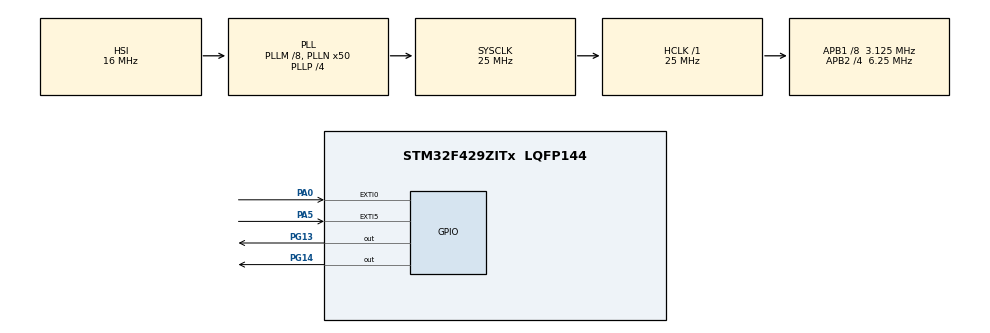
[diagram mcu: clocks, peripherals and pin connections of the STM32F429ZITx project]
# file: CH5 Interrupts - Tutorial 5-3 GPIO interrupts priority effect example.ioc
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Mcu.Family=STM32F4
Mcu.Name=STM32F429ZITx
Mcu.Package=LQFP144
NVIC.EXTI0_IRQn=true\:1\:0\:true\:true\:true\:1\:true\:true\:true
NVIC.EXTI9_5_IRQn=true\:2\:0\:true\:true\:true\:2\:true\:true\:true
NVIC.PriorityGroup=NVIC_PRIORITYGROUP_2
PA0/WKUP.GPIO_ModeDefaultEXTI=GPIO_MODE_IT_FALLING
PA0/WKUP.GPIO_PuPd=GPIO_PULLDOWN
PA0/WKUP.Signal=GPXTI0
PA5.GPIO_ModeDefaultEXTI=GPIO_MODE_IT_FALLING
PA5.GPIO_PuPd=GPIO_PULLDOWN
PA5.Signal=GPXTI5
PG13.Signal=GPIO_Output
PG14.Signal=GPIO_Output
ProjectManager.HeapSize=0x200
ProjectManager.StackSize=0x400
ProjectManager.TargetToolchain=STM32CubeIDE
RCC.48MHZClocksFreq_Value=14285714.285714285
RCC.AHBFreq_Value=25000000
RCC.APB1CLKDivider=RCC_HCLK_DIV8
RCC.APB1Freq_Value=3125000
RCC.APB1TimFreq_Value=6250000
RCC.APB2CLKDivider=RCC_HCLK_DIV4
RCC.APB2Freq_Value=6250000
RCC.APB2TimFreq_Value=12500000
RCC.CortexFreq_Value=25000000
RCC.HCLKFreq_Value=25000000
RCC.HSE_VALUE=8000000
RCC.HSI_VALUE=16000000
RCC.LSE_VALUE=32768
RCC.PLLM=8
RCC.PLLN=50
RCC.PLLP=RCC_PLLP_DIV4
RCC.PLLQ=7
RCC.SYSCLKFreq_VALUE=25000000
RCC.SYSCLKSource=RCC_SYSCLKSOURCE_PLLCLK
RCC.VCOOutputFreq_Value=100000000
board=STM32F429I-DISC1

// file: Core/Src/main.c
/* USER CODE BEGIN Header */
/**
  ******************************************************************************
  * @file           : main.c
  * @brief          : Main program body
  ******************************************************************************
  * @attention
  *
  * Copyright (c) 2023 STMicroelectronics.
  * All rights reserved.
  *
  * This software is licensed under terms that can be found in the LICENSE file
  * in the root directory of this software component.
  * If no LICENSE file comes with this software, it is provided AS-IS.
  *
  ******************************************************************************
  */
  /***************************** Tutorial Tags ******************************
		 GPIO EXTI Intrrupt (nested interrupts)
		 GPIO Digital output
	 **************************************************************************/

	/* 5.3 Interrupt usage on the STM32F4Microcontroller: ***********************
	 * Tutorial 5.3: The effect of priority on GPIO interrupts, the C code

    Note: Tutorial 5.3 is modified from the book

    In this tutorial, we demonstrate the use of  nested interrupt and
	priority mechanisms. To do so, we should connect an external normally open button
	in active high configuration and a capacitor to the pin PA5 as in Fig. 5.4 (Please refer to the book).
	Afterward, we should configure the onboard and external button pins as GPIO_EXTI and select
	their mode as “external interrupt mode with falling edge trigger detection.

	We should also change the interrupt priority of EXTI
	line 0 interrupt to 1 and EXTI line[9:5] interrupt to 2 while configuring interrupt
	sources.

	We also use two counter variables. One is used in infinite loop with HAL delay and increment every
	2 seconds. The second counter is used inside the callback functiona and increments every time
	an interrupt is generated.

	ITM debug tool can be used for printing and following code exection. You can also
	use breakpoints inside the callback to check how interrupts are handled based on priority.

	"""The demo os this tutorial is formed in two parts. In the first part, a low
	priority interrupt comes when the CPU is handling a high priority interrupt. Hence,
	the low priority interrupt is served after the high priority one is served. First, press
	the onboard button on the STM32F4 board. Release the onboard button, wait for 1 s,
	and press and release the external button. You can observe that the second press will
	not be recognized until four more seconds pass. In the second part, a high priority
	interrupt comes when the CPU is executing a low priority interrupt. Due to interrupt
	priority, the high priority interrupt is served immediately. Now, press and release
	the external button and wait for 1 s. Then, press and release the user button on the
	STM32F4 board. This time the second press will be recognized immediately. This
	example shows how the priority mechanism works."""

	***************************************************************************/

/* USER CODE END Header */
#include "main.h"

/* USER CODE BEGIN Includes */
#include "stdio.h"
/* USER CODE END Includes */

/* USER CODE BEGIN PV */
int counter1=0, counter2=0;
/* USER CODE END PV */

void SystemClock_Config(void);
static void MX_GPIO_Init(void);
static void MX_NVIC_Init(void);

/* USER CODE BEGIN 0 */
int _write(int file, char *ptr, int len){
	  int i = 0;
	  for (i=0; i<len; i++)
		  ITM_SendChar((*ptr++));
	  return len;
}
/* USER CODE END 0 */

int main(void)
{

  /* MCU Configuration--------------------------------------------------------*/

  /* Reset of all peripherals, Initializes the Flash interface and the Systick. */
  HAL_Init();

  /* Configure the system clock */
  SystemClock_Config();

  /* Initialize all configured peripherals */
  MX_GPIO_Init();

  /* Initialize interrupts */
  MX_NVIC_Init();
  /* USER CODE BEGIN 2 */

  HAL_GPIO_WritePin(GPIOG, GPIO_PIN_13, GPIO_PIN_SET);
  HAL_GPIO_WritePin(GPIOG, GPIO_PIN_14, GPIO_PIN_RESET);

  /* USER CODE END 2 */

  /* Infinite loop */
  while (1)
  {
	  counter1++;
	  printf("Counter 1 value is: %d\n", counter1);
	  HAL_Delay(2000);

  }
}

void SystemClock_Config(void)
{
  RCC_OscInitTypeDef RCC_OscInitStruct = {0};
  RCC_ClkInitTypeDef RCC_ClkInitStruct = {0};

  /** Configure the main internal regulator output voltage
  */
  __HAL_RCC_PWR_CLK_ENABLE();
  __HAL_PWR_VOLTAGESCALING_CONFIG(PWR_REGULATOR_VOLTAGE_SCALE3);

  /** Initializes the RCC Oscillators according to the specified parameters
  * in the RCC_OscInitTypeDef structure.
  */
  RCC_OscInitStruct.OscillatorType = RCC_OSCILLATORTYPE_HSI;
  RCC_OscInitStruct.HSIState = RCC_HSI_ON;
  RCC_OscInitStruct.HSICalibrationValue = RCC_HSICALIBRATION_DEFAULT;
  RCC_OscInitStruct.PLL.PLLState = RCC_PLL_ON;
  RCC_OscInitStruct.PLL.PLLSource = RCC_PLLSOURCE_HSI;
  RCC_OscInitStruct.PLL.PLLM = 8;
  RCC_OscInitStruct.PLL.PLLN = 50;
  RCC_OscInitStruct.PLL.PLLP = RCC_PLLP_DIV4;
  RCC_OscInitStruct.PLL.PLLQ = 7;
  if (HAL_RCC_OscConfig(&RCC_OscInitStruct) != HAL_OK)
  {
    Error_Handler();
  }

  /** Initializes the CPU, AHB and APB buses clocks
  */
  RCC_ClkInitStruct.ClockType = RCC_CLOCKTYPE_HCLK|RCC_CLOCKTYPE_SYSCLK
                              |RCC_CLOCKTYPE_PCLK1|RCC_CLOCKTYPE_PCLK2;
  RCC_ClkInitStruct.SYSCLKSource = RCC_SYSCLKSOURCE_PLLCLK;
  RCC_ClkInitStruct.AHBCLKDivider = RCC_SYSCLK_DIV1;
  RCC_ClkInitStruct.APB1CLKDivider = RCC_HCLK_DIV8;
  RCC_ClkInitStruct.APB2CLKDivider = RCC_HCLK_DIV4;

  if (HAL_RCC_ClockConfig(&RCC_ClkInitStruct, FLASH_LATENCY_0) != HAL_OK)
  {
    Error_Handler();
  }
}

/**
  * @brief NVIC Configuration.
  * @retval None
  */
static void MX_NVIC_Init(void)
{
  /* EXTI0_IRQn interrupt configuration */
  HAL_NVIC_SetPriority(EXTI0_IRQn, 1, 0);
  HAL_NVIC_EnableIRQ(EXTI0_IRQn);
  /* EXTI9_5_IRQn interrupt configuration */
  HAL_NVIC_SetPriority(EXTI9_5_IRQn, 2, 0);
  HAL_NVIC_EnableIRQ(EXTI9_5_IRQn);
}

static void MX_GPIO_Init(void)
{
  GPIO_InitTypeDef GPIO_InitStruct = {0};

  /* GPIO Ports Clock Enable */
  __HAL_RCC_GPIOA_CLK_ENABLE();
  __HAL_RCC_GPIOG_CLK_ENABLE();

  /*Configure GPIO pin Output Level */
  HAL_GPIO_WritePin(GPIOG, GPIO_PIN_13|GPIO_PIN_14, GPIO_PIN_RESET);

  /*Configure GPIO pins : PA0 PA5 */
  GPIO_InitStruct.Pin = GPIO_PIN_0|GPIO_PIN_5;
  GPIO_InitStruct.Mode = GPIO_MODE_IT_FALLING;
  GPIO_InitStruct.Pull = GPIO_PULLDOWN;
  HAL_GPIO_Init(GPIOA, &GPIO_InitStruct);

  /*Configure GPIO pins : PG13 PG14 */
  GPIO_InitStruct.Pin = GPIO_PIN_13|GPIO_PIN_14;
  GPIO_InitStruct.Mode = GPIO_MODE_OUTPUT_PP;
  GPIO_InitStruct.Pull = GPIO_NOPULL;
  GPIO_InitStruct.Speed = GPIO_SPEED_FREQ_LOW;
  HAL_GPIO_Init(GPIOG, &GPIO_InitStruct);

}

/* USER CODE BEGIN 4 */
void HAL_GPIO_EXTI_Callback(uint16_t GPIO_Pin){
	if(GPIO_Pin == GPIO_PIN_0){
		HAL_GPIO_TogglePin(GPIOG, GPIO_PIN_13);
		HAL_Delay(5000);

	}
	if(GPIO_Pin == GPIO_PIN_5){
		HAL_GPIO_TogglePin(GPIOG, GPIO_PIN_14);
		HAL_Delay(5000);
	}
	counter2++;
	printf("Counter 2 value is: %d\n", counter2);
}
/* USER CODE END 4 */

void Error_Handler(void)
{
  __disable_irq();
  while (1)
  {
  }
}
